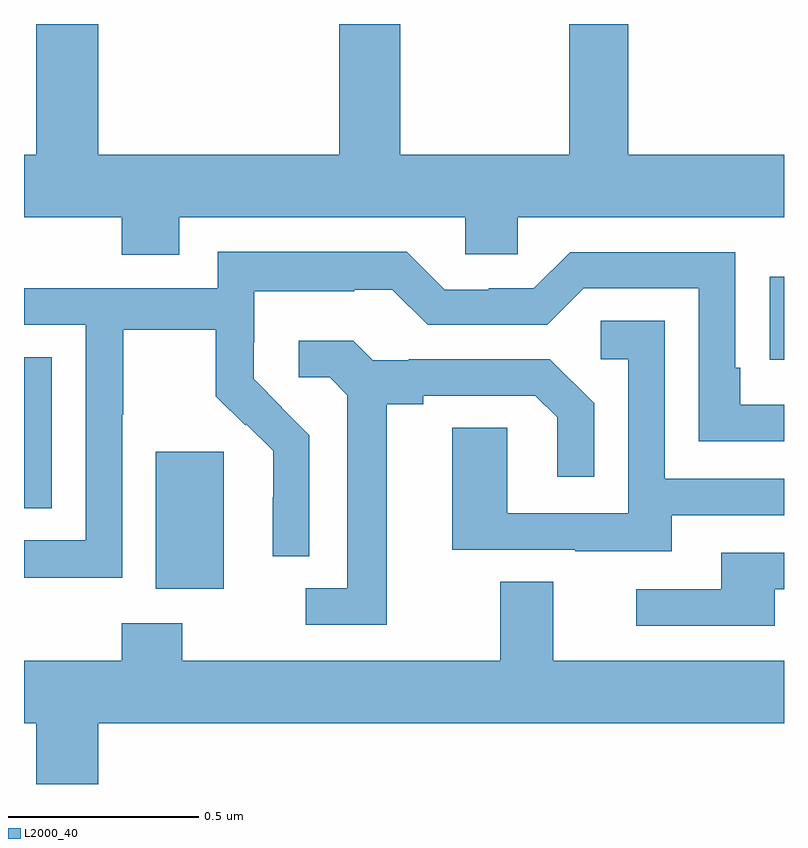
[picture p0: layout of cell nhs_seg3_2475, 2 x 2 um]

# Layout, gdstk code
import gdstk
lib = gdstk.Library(unit=1e-6, precision=1e-09)
def R(c, l, rs):  # rectangles x0, y0, x1, y1
    for r in rs: c.add(gdstk.rectangle(r[:2], r[2:], *l))
def P(c, l, *ps):  # polygons
    for p in ps: c.add(gdstk.Polygon(p, *l))
L2000_40 = (2000, 40)

nhs_seg3_2475 = lib.new_cell('nhs_seg3_2475')
R(nhs_seg3_2475, L2000_40, [(141.347,723.914,141.526,724.275), (141,724.126,141.073,724.523), (142.963,724.516,143,724.735)])
P(nhs_seg3_2475, L2000_40, [(141.409,724.892),(142.161,724.892),(142.161,724.794),(142.299,724.794),(142.299,724.892),(143,724.892),(143,725.056),(142.59,725.056),(142.59,725.4),(142.435,725.4),(142.435,725.056),(141.99,725.056),(141.99,725.4),(141.83,725.4),(141.83,725.056),(141.196,725.056),(141.196,725.4),(141.032,725.4),(141.032,725.056),(141,725.056),(141,724.892),(141.257,724.892),(141.257,724.793),(141.409,724.793)],
  [(141.258,724.372),(141.261,724.372),(141.261,724.596),(141.505,724.596),(141.505,724.421),(141.582,724.344),(141.585,724.347),(141.656,724.277),(141.656,724.154),(141.654,724.154),(141.654,724),(141.75,724),(141.75,724.318),(141.677,724.391),(141.678,724.392),(141.604,724.466),(141.604,724.563),(141.606,724.563),(141.606,724.697),(141.869,724.697),(141.869,724.701),(141.969,724.701),(142.062,724.608),(142.377,724.608),(142.473,724.704),(142.776,724.704),(142.776,724.302),(143,724.302),(143,724.398),(142.885,724.398),(142.885,724.495),(142.872,724.495),(142.872,724.8),(142.437,724.8),(142.341,724.704),(142.223,724.704),(142.223,724.701),(142.107,724.701),(142.007,724.801),(141.51,724.801),(141.51,724.704),(141,724.704),(141,724.608),(141.162,724.608),(141.162,724.041),(141,724.041),(141,723.943),(141.258,723.943)],
  [(142.705,724.107),(143,724.107),(143,724.203),(142.686,724.203),(142.686,724.619),(142.518,724.619),(142.518,724.518),(142.59,724.518),(142.59,724.113),(142.272,724.113),(142.272,724.337),(142.127,724.337),(142.127,724.017),(142.451,724.017),(142.451,724.013),(142.705,724.013)],
  [(141.955,724.4),(142.051,724.4),(142.051,724.422),(142.346,724.422),(142.403,724.365),(142.403,724.209),(142.5,724.209),(142.5,724.402),(142.384,724.518),(142.012,724.518),(142.012,724.515),(141.918,724.515),(141.866,724.567),(141.723,724.567),(141.723,724.47),(141.804,724.47),(141.851,724.423),(141.851,723.915),(141.741,723.915),(141.741,723.819),(141.955,723.819)],
  [(142.975,723.912),(143,723.912),(143,724.008),(142.835,724.008),(142.835,723.912),(142.611,723.912),(142.611,723.816),(142.975,723.816)],
  [(141.196,723.56),(143,723.56),(143,723.724),(142.393,723.724),(142.393,723.932),(142.253,723.932),(142.253,723.724),(141.417,723.724),(141.417,723.823),(141.257,723.823),(141.257,723.724),(141,723.724),(141,723.56),(141.032,723.56),(141.032,723.4),(141.196,723.4)])

lib.write_gds('nhs_seg3_2475.gds')
